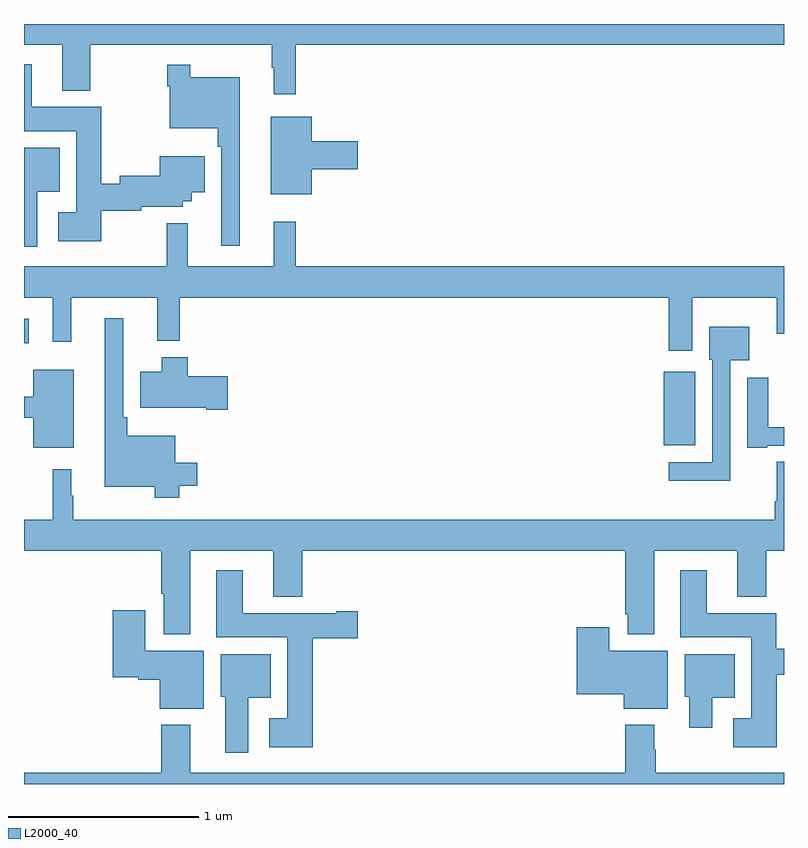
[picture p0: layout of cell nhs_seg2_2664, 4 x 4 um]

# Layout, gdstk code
import gdstk
lib = gdstk.Library(unit=1e-6, precision=1e-09)
def R(c, l, rs):  # rectangles x0, y0, x1, y1
    for r in rs: c.add(gdstk.rectangle(r[:2], r[2:], *l))
def P(c, l, *ps):  # polygons
    for p in ps: c.add(gdstk.Polygon(p, *l))
L2000_40 = (2000, 40)

nhs_seg2_2664 = lib.new_cell('nhs_seg2_2664')
R(nhs_seg2_2664, L2000_40, [(254.366,589.583,254.533,589.969), (251,590.119,251.026,590.248)])
P(nhs_seg2_2664, L2000_40, [(252.431,591.692),(255,591.692),(255,591.8),(251,591.8),(251,591.692),(251.201,591.692),(251.201,591.449),(251.349,591.449),(251.349,591.692),(252.303,591.692),(252.303,591.569),(252.314,591.569),(252.314,591.429),(252.431,591.429)],
  [(251.406,590.818),(251.616,590.818),(251.616,590.837),(251.836,590.837),(251.836,590.867),(251.884,590.867),(251.884,590.915),(251.95,590.915),(251.95,591.103),(251.714,591.103),(251.714,591.002),(251.504,591.002),(251.504,590.96),(251.406,590.96),(251.406,591.364),(251.041,591.364),(251.041,591.589),(251,591.589),(251,591.236),(251.276,591.236),(251.276,590.809),(251.181,590.809),(251.181,590.657),(251.406,590.657)],
  [(252.136,591.52),(251.875,591.52),(251.875,591.586),(251.754,591.586),(251.754,591.473),(251.766,591.473),(251.766,591.251),(252.019,591.251),(252.019,591.155),(252.039,591.155),(252.039,590.634),(252.136,590.634)],
  [(252.514,591.035),(252.757,591.035),(252.757,591.182),(252.514,591.182),(252.514,591.313),(252.299,591.313),(252.299,590.903),(252.514,590.903)],
  [(251.071,590.918),(251.188,590.918),(251.188,591.148),(251,591.148),(251,590.628),(251.071,590.628)],
  [(254.518,590.36),(254.963,590.36),(254.963,590.171),(255,590.171),(255,590.524),(252.431,590.524),(252.431,590.758),(252.314,590.758),(252.314,590.524),(251.861,590.524),(251.861,590.752),(251.751,590.752),(251.751,590.524),(251,590.524),(251,590.36),(251.151,590.36),(251.151,590.127),(251.249,590.127),(251.249,590.36),(251.702,590.36),(251.702,590.132),(251.819,590.132),(251.819,590.36),(254.393,590.36),(254.393,590.079),(254.518,590.079)],
  [(251.816,589.37),(251.911,589.37),(251.911,589.492),(251.797,589.492),(251.797,589.633),(251.543,589.633),(251.543,589.729),(251.523,589.729),(251.523,590.251),(251.426,590.251),(251.426,589.364),(251.688,589.364),(251.688,589.307),(251.816,589.307)],
  [(254.718,590.03),(254.818,590.03),(254.818,590.206),(254.606,590.206),(254.606,590.034),(254.622,590.034),(254.622,589.494),(254.394,589.494),(254.394,589.397),(254.718,589.397)],
  [(252.073,589.947),(251.861,589.947),(251.861,590.047),(251.726,590.047),(251.726,589.969),(251.612,589.969),(251.612,589.781),(251.96,589.781),(251.96,589.769),(252.073,589.769)],
  [(251.263,589.981),(251.048,589.981),(251.048,589.837),(251,589.837),(251,589.727),(251.048,589.727),(251.048,589.571),(251.263,589.571)],
  [(254.911,589.581),(255,589.581),(255,589.677),(254.917,589.677),(254.917,589.939),(254.807,589.939),(254.807,589.569),(254.911,589.569)],
  [(251.875,589.028),(252.311,589.028),(252.311,588.785),(252.464,588.785),(252.464,589.028),(254.165,589.028),(254.165,588.694),(254.177,588.694),(254.177,588.587),(254.317,588.587),(254.317,589.028),(254.753,589.028),(254.753,588.785),(254.906,588.785),(254.906,589.028),(255,589.028),(255,589.496),(254.963,589.496),(254.963,589.288),(254.951,589.288),(254.951,589.192),(251.26,589.192),(251.26,589.316),(251.248,589.316),(251.248,589.456),(251.15,589.456),(251.15,589.192),(251,589.192),(251,589.028),(251.723,589.028),(251.723,588.802),(251.735,588.802),(251.735,588.587),(251.875,588.587)],
  [(254.963,588.376),(255,588.376),(255,588.512),(254.958,588.512),(254.958,588.7),(254.593,588.7),(254.593,588.925),(254.453,588.925),(254.453,588.572),(254.828,588.572),(254.828,588.145),(254.733,588.145),(254.733,587.993),(254.963,587.993)],
  [(252.521,588.566),(252.757,588.566),(252.757,588.708),(252.644,588.708),(252.644,588.7),(252.151,588.7),(252.151,588.925),(252.011,588.925),(252.011,588.572),(252.386,588.572),(252.386,588.145),(252.291,588.145),(252.291,587.993),(252.521,587.993)],
  [(251.947,588.502),(251.638,588.502),(251.638,588.715),(251.468,588.715),(251.468,588.362),(251.601,588.362),(251.601,588.35),(251.714,588.35),(251.714,588.197),(251.947,588.197)],
  [(254.389,588.502),(254.08,588.502),(254.08,588.625),(253.91,588.625),(253.91,588.272),(254.156,588.272),(254.156,588.197),(254.389,588.197)],
  [(254.623,588.254),(254.74,588.254),(254.74,588.484),(254.477,588.484),(254.477,588.258),(254.501,588.258),(254.501,588.096),(254.623,588.096)],
  [(252.181,588.254),(252.298,588.254),(252.298,588.484),(252.035,588.484),(252.035,588.258),(252.059,588.258),(252.059,587.964),(252.181,587.964)],
  [(255,587.86),(254.325,587.86),(254.325,587.981),(254.317,587.981),(254.317,588.112),(254.165,588.112),(254.165,587.86),(251.875,587.86),(251.875,588.112),(251.723,588.112),(251.723,587.86),(251,587.86),(251,587.8),(255,587.8)])

lib.write_gds('nhs_seg2_2664.gds')
